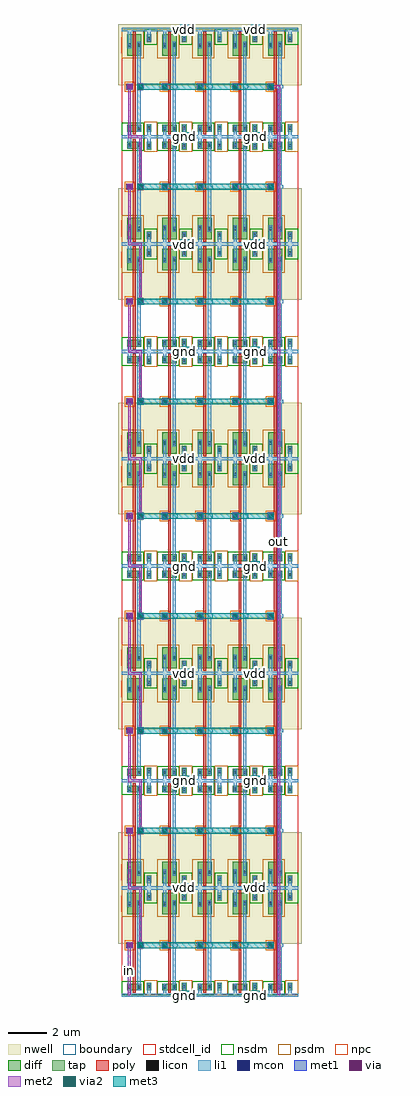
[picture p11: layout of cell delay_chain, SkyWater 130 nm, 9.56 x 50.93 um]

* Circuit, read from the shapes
.subckt delay_chain gnd in out vdd
XM1 pinv_10_1/A in gnd gnd sky130_fd_pr__nfet_01v8 w=0.36 l=0.15
XM2 pinv_10_10/A pinv_10_1/A gnd gnd sky130_fd_pr__nfet_01v8 w=0.36 l=0.15
XM3 pinv_10_11/A pinv_10_10/A gnd gnd sky130_fd_pr__nfet_01v8 w=0.36 l=0.15
XM4 pinv_10_16/A pinv_10_11/A gnd gnd sky130_fd_pr__nfet_01v8 w=0.36 l=0.15
XM5 pinv_10_21/A pinv_10_16/A gnd gnd sky130_fd_pr__nfet_01v8 w=0.36 l=0.15
XM6 pinv_10_26/A pinv_10_21/A gnd gnd sky130_fd_pr__nfet_01v8 w=0.36 l=0.15
XM7 pinv_10_31/A pinv_10_26/A gnd gnd sky130_fd_pr__nfet_01v8 w=0.36 l=0.15
XM8 pinv_10_36/A pinv_10_31/A gnd gnd sky130_fd_pr__nfet_01v8 w=0.36 l=0.15
XM9 out pinv_10_36/A gnd gnd sky130_fd_pr__nfet_01v8 w=0.36 l=0.15
XM10 pinv_10_1/Z pinv_10_1/A gnd gnd sky130_fd_pr__nfet_01v8 w=0.36 l=0.15
XM11 pinv_10_6/Z pinv_10_10/A gnd gnd sky130_fd_pr__nfet_01v8 w=0.36 l=0.15
XM12 pinv_10_11/Z pinv_10_11/A gnd gnd sky130_fd_pr__nfet_01v8 w=0.36 l=0.15
XM13 pinv_10_16/Z pinv_10_16/A gnd gnd sky130_fd_pr__nfet_01v8 w=0.36 l=0.15
XM14 pinv_10_21/Z pinv_10_21/A gnd gnd sky130_fd_pr__nfet_01v8 w=0.36 l=0.15
XM15 pinv_10_26/Z pinv_10_26/A gnd gnd sky130_fd_pr__nfet_01v8 w=0.36 l=0.15
XM16 pinv_10_31/Z pinv_10_31/A gnd gnd sky130_fd_pr__nfet_01v8 w=0.36 l=0.15
XM17 pinv_10_36/Z pinv_10_36/A gnd gnd sky130_fd_pr__nfet_01v8 w=0.36 l=0.15
XM18 pinv_10_41/Z out gnd gnd sky130_fd_pr__nfet_01v8 w=0.36 l=0.15
XM19 pinv_10_2/Z pinv_10_1/A gnd gnd sky130_fd_pr__nfet_01v8 w=0.36 l=0.15
XM20 pinv_10_7/Z pinv_10_10/A gnd gnd sky130_fd_pr__nfet_01v8 w=0.36 l=0.15
XM21 pinv_10_12/Z pinv_10_11/A gnd gnd sky130_fd_pr__nfet_01v8 w=0.36 l=0.15
XM22 pinv_10_17/Z pinv_10_16/A gnd gnd sky130_fd_pr__nfet_01v8 w=0.36 l=0.15
XM23 pinv_10_22/Z pinv_10_21/A gnd gnd sky130_fd_pr__nfet_01v8 w=0.36 l=0.15
XM24 pinv_10_27/Z pinv_10_26/A gnd gnd sky130_fd_pr__nfet_01v8 w=0.36 l=0.15
XM25 pinv_10_32/Z pinv_10_31/A gnd gnd sky130_fd_pr__nfet_01v8 w=0.36 l=0.15
XM26 pinv_10_37/Z pinv_10_36/A gnd gnd sky130_fd_pr__nfet_01v8 w=0.36 l=0.15
XM27 pinv_10_42/Z out gnd gnd sky130_fd_pr__nfet_01v8 w=0.36 l=0.15
XM28 pinv_10_3/Z pinv_10_1/A gnd gnd sky130_fd_pr__nfet_01v8 w=0.36 l=0.15
XM29 pinv_10_8/Z pinv_10_10/A gnd gnd sky130_fd_pr__nfet_01v8 w=0.36 l=0.15
XM30 pinv_10_13/Z pinv_10_11/A gnd gnd sky130_fd_pr__nfet_01v8 w=0.36 l=0.15
XM31 pinv_10_18/Z pinv_10_16/A gnd gnd sky130_fd_pr__nfet_01v8 w=0.36 l=0.15
XM32 pinv_10_23/Z pinv_10_21/A gnd gnd sky130_fd_pr__nfet_01v8 w=0.36 l=0.15
XM33 pinv_10_28/Z pinv_10_26/A gnd gnd sky130_fd_pr__nfet_01v8 w=0.36 l=0.15
XM34 pinv_10_33/Z pinv_10_31/A gnd gnd sky130_fd_pr__nfet_01v8 w=0.36 l=0.15
XM35 pinv_10_38/Z pinv_10_36/A gnd gnd sky130_fd_pr__nfet_01v8 w=0.36 l=0.15
XM36 pinv_10_43/Z out gnd gnd sky130_fd_pr__nfet_01v8 w=0.36 l=0.15
XM37 pinv_10_4/Z pinv_10_1/A gnd gnd sky130_fd_pr__nfet_01v8 w=0.36 l=0.15
XM38 pinv_10_9/Z pinv_10_10/A gnd gnd sky130_fd_pr__nfet_01v8 w=0.36 l=0.15
XM39 pinv_10_14/Z pinv_10_11/A gnd gnd sky130_fd_pr__nfet_01v8 w=0.36 l=0.15
XM40 pinv_10_19/Z pinv_10_16/A gnd gnd sky130_fd_pr__nfet_01v8 w=0.36 l=0.15
XM41 pinv_10_24/Z pinv_10_21/A gnd gnd sky130_fd_pr__nfet_01v8 w=0.36 l=0.15
XM42 pinv_10_29/Z pinv_10_26/A gnd gnd sky130_fd_pr__nfet_01v8 w=0.36 l=0.15
XM43 pinv_10_34/Z pinv_10_31/A gnd gnd sky130_fd_pr__nfet_01v8 w=0.36 l=0.15
XM44 pinv_10_39/Z pinv_10_36/A gnd gnd sky130_fd_pr__nfet_01v8 w=0.36 l=0.15
XM45 pinv_10_44/Z out gnd gnd sky130_fd_pr__nfet_01v8 w=0.36 l=0.15
XM46 pinv_10_1/A in vdd vdd sky130_fd_pr__pfet_01v8 w=1.12 l=0.15
XM47 pinv_10_10/A pinv_10_1/A vdd vdd sky130_fd_pr__pfet_01v8 w=1.12 l=0.15
XM48 pinv_10_11/A pinv_10_10/A vdd vdd sky130_fd_pr__pfet_01v8 w=1.12 l=0.15
XM49 pinv_10_16/A pinv_10_11/A vdd vdd sky130_fd_pr__pfet_01v8 w=1.12 l=0.15
XM50 pinv_10_21/A pinv_10_16/A vdd vdd sky130_fd_pr__pfet_01v8 w=1.12 l=0.15
XM51 pinv_10_26/A pinv_10_21/A vdd vdd sky130_fd_pr__pfet_01v8 w=1.12 l=0.15
XM52 pinv_10_31/A pinv_10_26/A vdd vdd sky130_fd_pr__pfet_01v8 w=1.12 l=0.15
XM53 pinv_10_36/A pinv_10_31/A vdd vdd sky130_fd_pr__pfet_01v8 w=1.12 l=0.15
XM54 out pinv_10_36/A vdd vdd sky130_fd_pr__pfet_01v8 w=1.12 l=0.15
XM55 pinv_10_1/Z pinv_10_1/A vdd vdd sky130_fd_pr__pfet_01v8 w=1.12 l=0.15
XM56 pinv_10_6/Z pinv_10_10/A vdd vdd sky130_fd_pr__pfet_01v8 w=1.12 l=0.15
XM57 pinv_10_11/Z pinv_10_11/A vdd vdd sky130_fd_pr__pfet_01v8 w=1.12 l=0.15
XM58 pinv_10_16/Z pinv_10_16/A vdd vdd sky130_fd_pr__pfet_01v8 w=1.12 l=0.15
XM59 pinv_10_21/Z pinv_10_21/A vdd vdd sky130_fd_pr__pfet_01v8 w=1.12 l=0.15
XM60 pinv_10_26/Z pinv_10_26/A vdd vdd sky130_fd_pr__pfet_01v8 w=1.12 l=0.15
XM61 pinv_10_31/Z pinv_10_31/A vdd vdd sky130_fd_pr__pfet_01v8 w=1.12 l=0.15
XM62 pinv_10_36/Z pinv_10_36/A vdd vdd sky130_fd_pr__pfet_01v8 w=1.12 l=0.15
XM63 pinv_10_41/Z out vdd vdd sky130_fd_pr__pfet_01v8 w=1.12 l=0.15
XM64 pinv_10_2/Z pinv_10_1/A vdd vdd sky130_fd_pr__pfet_01v8 w=1.12 l=0.15
XM65 pinv_10_7/Z pinv_10_10/A vdd vdd sky130_fd_pr__pfet_01v8 w=1.12 l=0.15
XM66 pinv_10_12/Z pinv_10_11/A vdd vdd sky130_fd_pr__pfet_01v8 w=1.12 l=0.15
XM67 pinv_10_17/Z pinv_10_16/A vdd vdd sky130_fd_pr__pfet_01v8 w=1.12 l=0.15
XM68 pinv_10_22/Z pinv_10_21/A vdd vdd sky130_fd_pr__pfet_01v8 w=1.12 l=0.15
XM69 pinv_10_27/Z pinv_10_26/A vdd vdd sky130_fd_pr__pfet_01v8 w=1.12 l=0.15
XM70 pinv_10_32/Z pinv_10_31/A vdd vdd sky130_fd_pr__pfet_01v8 w=1.12 l=0.15
XM71 pinv_10_37/Z pinv_10_36/A vdd vdd sky130_fd_pr__pfet_01v8 w=1.12 l=0.15
XM72 pinv_10_42/Z out vdd vdd sky130_fd_pr__pfet_01v8 w=1.12 l=0.15
XM73 pinv_10_3/Z pinv_10_1/A vdd vdd sky130_fd_pr__pfet_01v8 w=1.12 l=0.15
XM74 pinv_10_8/Z pinv_10_10/A vdd vdd sky130_fd_pr__pfet_01v8 w=1.12 l=0.15
XM75 pinv_10_13/Z pinv_10_11/A vdd vdd sky130_fd_pr__pfet_01v8 w=1.12 l=0.15
XM76 pinv_10_18/Z pinv_10_16/A vdd vdd sky130_fd_pr__pfet_01v8 w=1.12 l=0.15
XM77 pinv_10_23/Z pinv_10_21/A vdd vdd sky130_fd_pr__pfet_01v8 w=1.12 l=0.15
XM78 pinv_10_28/Z pinv_10_26/A vdd vdd sky130_fd_pr__pfet_01v8 w=1.12 l=0.15
XM79 pinv_10_33/Z pinv_10_31/A vdd vdd sky130_fd_pr__pfet_01v8 w=1.12 l=0.15
XM80 pinv_10_38/Z pinv_10_36/A vdd vdd sky130_fd_pr__pfet_01v8 w=1.12 l=0.15
XM81 pinv_10_43/Z out vdd vdd sky130_fd_pr__pfet_01v8 w=1.12 l=0.15
XM82 pinv_10_4/Z pinv_10_1/A vdd vdd sky130_fd_pr__pfet_01v8 w=1.12 l=0.15
XM83 pinv_10_9/Z pinv_10_10/A vdd vdd sky130_fd_pr__pfet_01v8 w=1.12 l=0.15
XM84 pinv_10_14/Z pinv_10_11/A vdd vdd sky130_fd_pr__pfet_01v8 w=1.12 l=0.15
XM85 pinv_10_19/Z pinv_10_16/A vdd vdd sky130_fd_pr__pfet_01v8 w=1.12 l=0.15
XM86 pinv_10_24/Z pinv_10_21/A vdd vdd sky130_fd_pr__pfet_01v8 w=1.12 l=0.15
XM87 pinv_10_29/Z pinv_10_26/A vdd vdd sky130_fd_pr__pfet_01v8 w=1.12 l=0.15
XM88 pinv_10_34/Z pinv_10_31/A vdd vdd sky130_fd_pr__pfet_01v8 w=1.12 l=0.15
XM89 pinv_10_39/Z pinv_10_36/A vdd vdd sky130_fd_pr__pfet_01v8 w=1.12 l=0.15
XM90 pinv_10_44/Z out vdd vdd sky130_fd_pr__pfet_01v8 w=1.12 l=0.15
.ends

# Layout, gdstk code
import gdstk
lib = gdstk.Library(unit=1e-6, precision=1e-09)
def R(c, l, rs):  # rectangles x0, y0, x1, y1
    for r in rs: c.add(gdstk.rectangle(r[:2], r[2:], *l))
def A(c, l, x, y, w, h, nx, ny, dx, dy):  # array of equal rectangles
    R(c, l, [(x+i*dx, y+j*dy, x+i*dx+w, y+j*dy+h) for i in range(nx) for j in range(ny)])
nwell = (64, 20)
diff = (65, 20)
tap = (65, 44)
poly = (66, 20)
licon = (66, 44)
li1 = (67, 20)
mcon = (67, 44)
met1 = (68, 20)
via = (68, 44)
met2 = (69, 20)
via2 = (69, 44)
met3 = (70, 20)
stdcell_id = (81, 4)
nsdm = (93, 44)
psdm = (94, 20)
npc = (95, 20)
boundary = (235, 4)

contact_11 = lib.new_cell('contact_11')
R(contact_11, nwell, [(-0.295,-0.255,0.545,0.585)])
R(contact_11, diff, [(0,0.02,0.25,0.31)])
R(contact_11, licon, [(0.04,0.08,0.21,0.25)])
R(contact_11, li1, [(0.04,0,0.21,0.33)])
R(contact_11, stdcell_id, [(-0.295,-0.255,0.545,0.585)])
R(contact_11, psdm, [(-0.125,-0.105,0.375,0.435)])
R(contact_11, boundary, [(-0.295,-0.255,0.545,0.585)])

pmos_m1_w1_120_sli_dli_d = lib.new_cell('pmos_m1_w1_120_sli_dli_da_p')
R(pmos_m1_w1_120_sli_dli_d, nwell, [(-0.27,-0.27,1.02,1.39)])
R(pmos_m1_w1_120_sli_dli_d, diff, [(0,0,0.75,1.12)])
R(pmos_m1_w1_120_sli_dli_d, poly, [(0.3,-0.13,0.45,1.25), (0.3,-0.13,0.45,1.25)])
R(pmos_m1_w1_120_sli_dli_d, li1, [(0.04,0.395,0.21,0.725), (0.54,0.395,0.71,0.725)])
R(pmos_m1_w1_120_sli_dli_d, stdcell_id, [(-0.27,-0.27,1.02,1.39)])
R(pmos_m1_w1_120_sli_dli_d, psdm, [(-0.125,-0.125,0.875,1.245)])
R(pmos_m1_w1_120_sli_dli_d, boundary, [(-0.27,-0.27,1.02,1.39)])
pmos_m1_w1_120_sli_dli_d.add(gdstk.Reference(contact_11, (0,0.395)))
pmos_m1_w1_120_sli_dli_d.add(gdstk.Reference(contact_11, (0.5,0.395)))
pmos_m1_w1_120_sli_dli_d.add(gdstk.Label('S', (0.125,0.56), layer=67, texttype=16))
pmos_m1_w1_120_sli_dli_d.add(gdstk.Label('G', (0.375,0.56), layer=66, texttype=16))
pmos_m1_w1_120_sli_dli_d.add(gdstk.Label('D', (0.625,0.56), layer=67, texttype=16))

contact_17 = lib.new_cell('contact_17')
R(contact_17, diff, [(0,0.02,0.25,0.31)])
R(contact_17, licon, [(0.04,0.08,0.21,0.25)])
R(contact_17, li1, [(0.04,0,0.21,0.33)])
R(contact_17, stdcell_id, [(-0.125,-0.105,0.375,0.435)])
R(contact_17, nsdm, [(-0.125,-0.105,0.375,0.435)])
R(contact_17, boundary, [(-0.125,-0.105,0.375,0.435)])

nmos_m1_w0_360_sli_dli_d = lib.new_cell('nmos_m1_w0_360_sli_dli_da_p')
R(nmos_m1_w0_360_sli_dli_d, diff, [(0,0,0.75,0.36)])
R(nmos_m1_w0_360_sli_dli_d, poly, [(0.3,-0.13,0.45,0.49), (0.3,-0.13,0.45,0.49)])
R(nmos_m1_w0_360_sli_dli_d, li1, [(0.04,0.015,0.21,0.345), (0.54,0.015,0.71,0.345)])
R(nmos_m1_w0_360_sli_dli_d, stdcell_id, [(-0.125,-0.13,0.875,0.49)])
R(nmos_m1_w0_360_sli_dli_d, nsdm, [(-0.125,-0.125,0.875,0.485)])
R(nmos_m1_w0_360_sli_dli_d, boundary, [(-0.125,-0.13,0.875,0.49)])
nmos_m1_w0_360_sli_dli_d.add(gdstk.Reference(contact_17, (0,0.015)))
nmos_m1_w0_360_sli_dli_d.add(gdstk.Reference(contact_17, (0.5,0.015)))
nmos_m1_w0_360_sli_dli_d.add(gdstk.Label('S', (0.125,0.18), layer=67, texttype=16))
nmos_m1_w0_360_sli_dli_d.add(gdstk.Label('G', (0.375,0.18), layer=66, texttype=16))
nmos_m1_w0_360_sli_dli_d.add(gdstk.Label('D', (0.625,0.18), layer=67, texttype=16))

contact_24 = lib.new_cell('contact_24')
R(contact_24, nwell, [(-0.295,-0.215,0.545,0.625)])
R(contact_24, tap, [(0,0,0.25,0.41)])
R(contact_24, licon, [(0.04,0.12,0.21,0.29)])
R(contact_24, li1, [(0.04,0.04,0.21,0.37)])
R(contact_24, stdcell_id, [(-0.295,-0.215,0.545,0.625)])
R(contact_24, nsdm, [(-0.125,-0.125,0.375,0.535)])
R(contact_24, boundary, [(-0.295,-0.215,0.545,0.625)])

contact_25 = lib.new_cell('contact_25')
R(contact_25, tap, [(0,0,0.25,0.41)])
R(contact_25, licon, [(0.04,0.12,0.21,0.29)])
R(contact_25, li1, [(0.04,0.04,0.21,0.37)])
R(contact_25, stdcell_id, [(-0.125,-0.125,0.375,0.535)])
R(contact_25, psdm, [(-0.125,-0.125,0.375,0.535)])
R(contact_25, boundary, [(-0.125,-0.125,0.375,0.535)])

contact_12 = lib.new_cell('contact_12')
R(contact_12, poly, [(0,0,0.33,0.33)])
R(contact_12, licon, [(0.08,0.08,0.25,0.25)])
R(contact_12, li1, [(0.08,0,0.25,0.33)])
R(contact_12, stdcell_id, [(-0.1,-0.1,0.43,0.43)])
R(contact_12, npc, [(-0.1,-0.1,0.43,0.43)])
R(contact_12, boundary, [(-0.1,-0.1,0.43,0.43)])

pinv_10 = lib.new_cell('pinv_10')
R(pinv_10, nwell, [(-0.18,2.69,2.02,5.885)])
R(pinv_10, poly, [(0.57,0.745,0.72,4.095), (0.405,2.445,0.57,2.775)])
R(pinv_10, li1, [(0,-0.085,1.84,0.085), (0.31,-0.085,0.48,0.27), (1.33,0,1.5,0.46), (0.81,0.27,0.98,4.95), (0.32,2.445,0.49,2.775), (0.895,2.525,1.065,2.695), (0.31,4.62,0.48,5.685), (1.33,5.14,1.5,5.6), (0,5.515,1.84,5.685)])
R(pinv_10, stdcell_id, [(0,0,1.84,5.6), (0,0,1.84,5.6)])
R(pinv_10, nsdm, [(0,0,1.145,0.74), (1.165,4.81,1.84,5.6)])
R(pinv_10, psdm, [(1.165,0,1.84,0.79), (0,4.1,1.145,5.6)])
R(pinv_10, boundary, [(0,0,1.84,5.6), (0,0,1.84,5.6)])
pinv_10.add(gdstk.Reference(pmos_m1_w1_120_sli_dli_d, (0.27,4.225)))
pinv_10.add(gdstk.Reference(nmos_m1_w0_360_sli_dli_d, (0.27,0.255)))
pinv_10.add(gdstk.Reference(contact_24, (1.29,4.935)))
pinv_10.add(gdstk.Reference(contact_25, (1.29,0.255)))
pinv_10.add(gdstk.Reference(contact_12, (0.24,2.445)))
pinv_10.add(gdstk.Label('gnd', (0.92,0), layer=67, texttype=16))
pinv_10.add(gdstk.Label('Z', (0.98,2.61), layer=67, texttype=16))
pinv_10.add(gdstk.Label('vdd', (0.92,5.6), layer=67, texttype=16))
pinv_10.add(gdstk.Label('A', (0.405,2.61), layer=67, texttype=16))

contact_7 = lib.new_cell('contact_7')
R(contact_7, li1, [(0.06,0,0.23,0.33)])
R(contact_7, mcon, [(0.06,0.08,0.23,0.25)])
R(contact_7, met1, [(0,0.05,0.29,0.28)])
R(contact_7, stdcell_id, [(0,0,0.29,0.33)])
R(contact_7, boundary, [(0,0,0.29,0.33)])

contact_8 = lib.new_cell('contact_8')
R(contact_8, met1, [(0,0.03,0.32,0.29)])
R(contact_8, via, [(0.085,0.085,0.235,0.235)])
R(contact_8, met2, [(0.03,0,0.29,0.32)])
R(contact_8, stdcell_id, [(0,0,0.32,0.32)])
R(contact_8, boundary, [(0,0,0.32,0.32)])

contact_9 = lib.new_cell('contact_9')
R(contact_9, met2, [(0.025,0,0.305,0.37)])
R(contact_9, via2, [(0.065,0.085,0.265,0.285)])
R(contact_9, met3, [(0,0.02,0.33,0.35)])
R(contact_9, stdcell_id, [(0,0,0.33,0.37)])
R(contact_9, boundary, [(0,0,0.33,0.37)])

delay_chain = lib.new_cell('delay_chain')
A(delay_chain, met1, 2.085, 2.48, 0.32, 0.26, 4, 2, 1.84, 5.98)
A(delay_chain, met1, 2.085, 13.68, 0.32, 0.26, 4, 2, 1.84, 5.98)
A(delay_chain, met1, 2.085, 24.88, 0.32, 0.26, 4, 2, 1.84, 5.98)
A(delay_chain, met1, 2.085, 36.08, 0.32, 0.26, 4, 2, 1.84, 5.98)
A(delay_chain, met1, 2.085, 47.28, 0.32, 0.26, 4, 1, 1.84, 0)
R(delay_chain, met1, [(3.12,-0.13,3.44,0.13), (6.8,-0.13,7.12,0.13), (0.245,2.48,0.565,2.74), (0.245,2.48,0.565,2.74), (0.82,2.48,1.14,2.74), (3.12,5.47,3.44,5.73), (3.12,5.47,3.44,5.73), (6.8,5.47,7.12,5.73), (6.8,5.47,7.12,5.73), (0.245,8.46,0.565,8.72), (0.82,8.46,1.14,8.72), (3.12,11.07,3.44,11.33), (3.12,11.07,3.44,11.33), (6.8,11.07,7.12,11.33), (6.8,11.07,7.12,11.33), (0.245,13.68,0.565,13.94), (0.82,13.68,1.14,13.94), (3.12,16.67,3.44,16.93), (3.12,16.67,3.44,16.93), (6.8,16.67,7.12,16.93), (6.8,16.67,7.12,16.93), (0.245,19.66,0.565,19.92), (0.82,19.66,1.14,19.92), (3.12,22.27,3.44,22.53), (3.12,22.27,3.44,22.53), (6.8,22.27,7.12,22.53), (6.8,22.27,7.12,22.53), (0.245,24.88,0.565,25.14), (0.82,24.88,1.14,25.14), (3.12,27.87,3.44,28.13), (3.12,27.87,3.44,28.13), (6.8,27.87,7.12,28.13), (6.8,27.87,7.12,28.13), (0.245,30.86,0.565,31.12), (0.82,30.86,1.14,31.12), (3.12,33.47,3.44,33.73), (3.12,33.47,3.44,33.73), (6.8,33.47,7.12,33.73), (6.8,33.47,7.12,33.73), (0.245,36.08,0.565,36.34), (0.82,36.08,1.14,36.34), (3.12,39.07,3.44,39.33), (3.12,39.07,3.44,39.33), (6.8,39.07,7.12,39.33), (6.8,39.07,7.12,39.33), (0.245,42.06,0.565,42.32), (0.82,42.06,1.14,42.32), (3.12,44.67,3.44,44.93), (3.12,44.67,3.44,44.93), (6.8,44.67,7.12,44.93), (6.8,44.67,7.12,44.93), (0.245,47.28,0.565,47.54), (0.82,47.28,1.14,47.54), (7.605,47.28,7.925,47.54), (3.12,50.27,3.44,50.53), (6.8,50.27,7.12,50.53)])
A(delay_chain, met2, 2.105, 2.49, 0.28, 0.24, 4, 2, 1.84, 5.98)
A(delay_chain, met2, 0.91, 2.61, 0.14, 2.99, 1, 4, 0, 11.2)
A(delay_chain, met2, 0.335, 5.53, 0.14, 0.14, 1, 8, 0, 5.6)
A(delay_chain, met2, 0.405, 5.53, 0.575, 0.14, 1, 8, 0, 5.6)
A(delay_chain, met2, 0.91, 5.53, 0.14, 0.14, 1, 8, 0, 5.6)
A(delay_chain, met2, 0.335, 5.6, 0.14, 2.99, 1, 4, 0, 11.2)
A(delay_chain, met2, 0.91, 8.59, 0.14, 2.61, 1, 4, 0, 11.2)
A(delay_chain, met2, 0.335, 11.2, 0.14, 2.61, 1, 4, 0, 11.2)
A(delay_chain, met2, 2.105, 13.69, 0.28, 0.24, 4, 2, 1.84, 5.98)
A(delay_chain, met2, 2.105, 24.89, 0.28, 0.24, 4, 2, 1.84, 5.98)
A(delay_chain, met2, 2.105, 36.09, 0.28, 0.24, 4, 2, 1.84, 5.98)
A(delay_chain, met2, 2.105, 47.29, 0.28, 0.24, 4, 1, 1.84, 0)
R(delay_chain, met2, [(3.14,-0.12,3.42,0.12), (6.82,-0.12,7.1,0.12), (0.32,0,0.46,2.61), (8.115,0,8.255,47.41), (8.115,0,8.255,47.41), (0.84,2.49,1.12,2.73), (3.14,5.48,3.42,5.72), (3.14,5.48,3.42,5.72), (6.82,5.48,7.1,5.72), (6.82,5.48,7.1,5.72), (0.84,8.47,1.12,8.71), (3.14,11.08,3.42,11.32), (3.14,11.08,3.42,11.32), (6.82,11.08,7.1,11.32), (6.82,11.08,7.1,11.32), (0.84,13.69,1.12,13.93), (3.14,16.68,3.42,16.92), (3.14,16.68,3.42,16.92), (6.82,16.68,7.1,16.92), (6.82,16.68,7.1,16.92), (0.84,19.67,1.12,19.91), (3.14,22.28,3.42,22.52), (3.14,22.28,3.42,22.52), (6.82,22.28,7.1,22.52), (6.82,22.28,7.1,22.52), (0.84,24.89,1.12,25.13), (3.14,27.88,3.42,28.12), (3.14,27.88,3.42,28.12), (6.82,27.88,7.1,28.12), (6.82,27.88,7.1,28.12), (0.84,30.87,1.12,31.11), (3.14,33.48,3.42,33.72), (3.14,33.48,3.42,33.72), (6.82,33.48,7.1,33.72), (6.82,33.48,7.1,33.72), (0.84,36.09,1.12,36.33), (3.14,39.08,3.42,39.32), (3.14,39.08,3.42,39.32), (6.82,39.08,7.1,39.32), (6.82,39.08,7.1,39.32), (0.84,42.07,1.12,42.31), (3.14,44.68,3.42,44.92), (3.14,44.68,3.42,44.92), (6.82,44.68,7.1,44.92), (6.82,44.68,7.1,44.92), (0.84,47.29,1.12,47.53), (7.765,47.34,8.185,47.48), (8.115,47.34,8.255,47.48), (3.14,50.28,3.42,50.52), (6.82,50.28,7.1,50.52)])
A(delay_chain, met3, 3.035, 5.355, 0.49, 0.49, 1, 3, 0, 5.6)
A(delay_chain, met3, 6.715, 5.355, 0.49, 0.49, 1, 3, 0, 5.6)
A(delay_chain, met3, 3.035, 16.555, 0.49, 0.49, 1, 7, 0, 5.6)
A(delay_chain, met3, 6.715, 16.555, 0.49, 0.49, 1, 7, 0, 5.6)
R(delay_chain, met3, [(3.035,-0.245,3.525,0.245), (6.715,-0.245,7.205,0.245), (0.98,2.46,7.765,2.76), (3.035,5.355,3.525,5.845), (6.715,5.355,7.205,5.845), (0.98,8.44,7.765,8.74), (0.98,13.66,7.765,13.96), (0.98,19.64,7.765,19.94), (0.98,24.86,7.765,25.16), (0.98,30.84,7.765,31.14), (0.98,36.06,7.765,36.36), (0.98,42.04,7.765,42.34), (0.98,47.26,7.765,47.56)])
R(delay_chain, stdcell_id, [(0,0,9.2,50.4)])
R(delay_chain, boundary, [(0,0,9.2,50.4)])
delay_chain.add(gdstk.Reference(pinv_10, (0,0)))
delay_chain.add(gdstk.Reference(pinv_10, (1.84,0)))
delay_chain.add(gdstk.Reference(pinv_10, (3.68,0)))
delay_chain.add(gdstk.Reference(pinv_10, (5.52,0)))
delay_chain.add(gdstk.Reference(pinv_10, (7.36,0)))
delay_chain.add(gdstk.Reference(pinv_10, (0,11.2), x_reflection=True))
delay_chain.add(gdstk.Reference(pinv_10, (1.84,11.2), x_reflection=True))
delay_chain.add(gdstk.Reference(pinv_10, (3.68,11.2), x_reflection=True))
delay_chain.add(gdstk.Reference(pinv_10, (5.52,11.2), x_reflection=True))
delay_chain.add(gdstk.Reference(pinv_10, (7.36,11.2), x_reflection=True))
delay_chain.add(gdstk.Reference(pinv_10, (0,11.2)))
delay_chain.add(gdstk.Reference(pinv_10, (1.84,11.2)))
delay_chain.add(gdstk.Reference(pinv_10, (3.68,11.2)))
delay_chain.add(gdstk.Reference(pinv_10, (5.52,11.2)))
delay_chain.add(gdstk.Reference(pinv_10, (7.36,11.2)))
delay_chain.add(gdstk.Reference(pinv_10, (0,22.4), x_reflection=True))
delay_chain.add(gdstk.Reference(pinv_10, (1.84,22.4), x_reflection=True))
delay_chain.add(gdstk.Reference(pinv_10, (3.68,22.4), x_reflection=True))
delay_chain.add(gdstk.Reference(pinv_10, (5.52,22.4), x_reflection=True))
delay_chain.add(gdstk.Reference(pinv_10, (7.36,22.4), x_reflection=True))
delay_chain.add(gdstk.Reference(pinv_10, (0,22.4)))
delay_chain.add(gdstk.Reference(pinv_10, (1.84,22.4)))
delay_chain.add(gdstk.Reference(pinv_10, (3.68,22.4)))
delay_chain.add(gdstk.Reference(pinv_10, (5.52,22.4)))
delay_chain.add(gdstk.Reference(pinv_10, (7.36,22.4)))
delay_chain.add(gdstk.Reference(pinv_10, (0,33.6), x_reflection=True))
delay_chain.add(gdstk.Reference(pinv_10, (1.84,33.6), x_reflection=True))
delay_chain.add(gdstk.Reference(pinv_10, (3.68,33.6), x_reflection=True))
delay_chain.add(gdstk.Reference(pinv_10, (5.52,33.6), x_reflection=True))
delay_chain.add(gdstk.Reference(pinv_10, (7.36,33.6), x_reflection=True))
delay_chain.add(gdstk.Reference(pinv_10, (0,33.6)))
delay_chain.add(gdstk.Reference(pinv_10, (1.84,33.6)))
delay_chain.add(gdstk.Reference(pinv_10, (3.68,33.6)))
delay_chain.add(gdstk.Reference(pinv_10, (5.52,33.6)))
delay_chain.add(gdstk.Reference(pinv_10, (7.36,33.6)))
delay_chain.add(gdstk.Reference(pinv_10, (0,44.8), x_reflection=True))
delay_chain.add(gdstk.Reference(pinv_10, (1.84,44.8), x_reflection=True))
delay_chain.add(gdstk.Reference(pinv_10, (3.68,44.8), x_reflection=True))
delay_chain.add(gdstk.Reference(pinv_10, (5.52,44.8), x_reflection=True))
delay_chain.add(gdstk.Reference(pinv_10, (7.36,44.8), x_reflection=True))
delay_chain.add(gdstk.Reference(pinv_10, (0,44.8)))
delay_chain.add(gdstk.Reference(pinv_10, (1.84,44.8)))
delay_chain.add(gdstk.Reference(pinv_10, (3.68,44.8)))
delay_chain.add(gdstk.Reference(pinv_10, (5.52,44.8)))
delay_chain.add(gdstk.Reference(pinv_10, (7.36,44.8)))
delay_chain.add(gdstk.Reference(contact_7, (2.1,2.445)))
delay_chain.add(gdstk.Reference(contact_8, (2.085,2.45)))
delay_chain.add(gdstk.Reference(contact_9, (2.08,2.425)))
delay_chain.add(gdstk.Reference(contact_7, (3.94,2.445)))
delay_chain.add(gdstk.Reference(contact_8, (3.925,2.45)))
delay_chain.add(gdstk.Reference(contact_9, (3.92,2.425)))
delay_chain.add(gdstk.Reference(contact_7, (5.78,2.445)))
delay_chain.add(gdstk.Reference(contact_8, (5.765,2.45)))
delay_chain.add(gdstk.Reference(contact_9, (5.76,2.425)))
delay_chain.add(gdstk.Reference(contact_7, (7.62,2.445)))
delay_chain.add(gdstk.Reference(contact_8, (7.605,2.45)))
delay_chain.add(gdstk.Reference(contact_9, (7.6,2.425)))
delay_chain.add(gdstk.Reference(contact_7, (0.26,2.445)))
delay_chain.add(gdstk.Reference(contact_8, (0.245,2.45)))
delay_chain.add(gdstk.Reference(contact_7, (0.835,2.445)))
delay_chain.add(gdstk.Reference(contact_8, (0.82,2.45)))
delay_chain.add(gdstk.Reference(contact_9, (0.815,2.425)))
delay_chain.add(gdstk.Reference(contact_7, (2.1,8.425)))
delay_chain.add(gdstk.Reference(contact_8, (2.085,8.43)))
delay_chain.add(gdstk.Reference(contact_9, (2.08,8.405)))
delay_chain.add(gdstk.Reference(contact_7, (3.94,8.425)))
delay_chain.add(gdstk.Reference(contact_8, (3.925,8.43)))
delay_chain.add(gdstk.Reference(contact_9, (3.92,8.405)))
delay_chain.add(gdstk.Reference(contact_7, (5.78,8.425)))
delay_chain.add(gdstk.Reference(contact_8, (5.765,8.43)))
delay_chain.add(gdstk.Reference(contact_9, (5.76,8.405)))
delay_chain.add(gdstk.Reference(contact_7, (7.62,8.425)))
delay_chain.add(gdstk.Reference(contact_8, (7.605,8.43)))
delay_chain.add(gdstk.Reference(contact_9, (7.6,8.405)))
delay_chain.add(gdstk.Reference(contact_7, (0.26,8.425)))
delay_chain.add(gdstk.Reference(contact_8, (0.245,8.43)))
delay_chain.add(gdstk.Reference(contact_7, (0.835,8.425)))
delay_chain.add(gdstk.Reference(contact_8, (0.82,8.43)))
delay_chain.add(gdstk.Reference(contact_9, (0.815,8.405)))
delay_chain.add(gdstk.Reference(contact_7, (2.1,13.645)))
delay_chain.add(gdstk.Reference(contact_8, (2.085,13.65)))
delay_chain.add(gdstk.Reference(contact_9, (2.08,13.625)))
delay_chain.add(gdstk.Reference(contact_7, (3.94,13.645)))
delay_chain.add(gdstk.Reference(contact_8, (3.925,13.65)))
delay_chain.add(gdstk.Reference(contact_9, (3.92,13.625)))
delay_chain.add(gdstk.Reference(contact_7, (5.78,13.645)))
delay_chain.add(gdstk.Reference(contact_8, (5.765,13.65)))
delay_chain.add(gdstk.Reference(contact_9, (5.76,13.625)))
delay_chain.add(gdstk.Reference(contact_7, (7.62,13.645)))
delay_chain.add(gdstk.Reference(contact_8, (7.605,13.65)))
delay_chain.add(gdstk.Reference(contact_9, (7.6,13.625)))
delay_chain.add(gdstk.Reference(contact_7, (0.26,13.645)))
delay_chain.add(gdstk.Reference(contact_8, (0.245,13.65)))
delay_chain.add(gdstk.Reference(contact_7, (0.835,13.645)))
delay_chain.add(gdstk.Reference(contact_8, (0.82,13.65)))
delay_chain.add(gdstk.Reference(contact_9, (0.815,13.625)))
delay_chain.add(gdstk.Reference(contact_7, (2.1,19.625)))
delay_chain.add(gdstk.Reference(contact_8, (2.085,19.63)))
delay_chain.add(gdstk.Reference(contact_9, (2.08,19.605)))
delay_chain.add(gdstk.Reference(contact_7, (3.94,19.625)))
delay_chain.add(gdstk.Reference(contact_8, (3.925,19.63)))
delay_chain.add(gdstk.Reference(contact_9, (3.92,19.605)))
delay_chain.add(gdstk.Reference(contact_7, (5.78,19.625)))
delay_chain.add(gdstk.Reference(contact_8, (5.765,19.63)))
delay_chain.add(gdstk.Reference(contact_9, (5.76,19.605)))
delay_chain.add(gdstk.Reference(contact_7, (7.62,19.625)))
delay_chain.add(gdstk.Reference(contact_8, (7.605,19.63)))
delay_chain.add(gdstk.Reference(contact_9, (7.6,19.605)))
delay_chain.add(gdstk.Reference(contact_7, (0.26,19.625)))
delay_chain.add(gdstk.Reference(contact_8, (0.245,19.63)))
delay_chain.add(gdstk.Reference(contact_7, (0.835,19.625)))
delay_chain.add(gdstk.Reference(contact_8, (0.82,19.63)))
delay_chain.add(gdstk.Reference(contact_9, (0.815,19.605)))
delay_chain.add(gdstk.Reference(contact_7, (2.1,24.845)))
delay_chain.add(gdstk.Reference(contact_8, (2.085,24.85)))
delay_chain.add(gdstk.Reference(contact_9, (2.08,24.825)))
delay_chain.add(gdstk.Reference(contact_7, (3.94,24.845)))
delay_chain.add(gdstk.Reference(contact_8, (3.925,24.85)))
delay_chain.add(gdstk.Reference(contact_9, (3.92,24.825)))
delay_chain.add(gdstk.Reference(contact_7, (5.78,24.845)))
delay_chain.add(gdstk.Reference(contact_8, (5.765,24.85)))
delay_chain.add(gdstk.Reference(contact_9, (5.76,24.825)))
delay_chain.add(gdstk.Reference(contact_7, (7.62,24.845)))
delay_chain.add(gdstk.Reference(contact_8, (7.605,24.85)))
delay_chain.add(gdstk.Reference(contact_9, (7.6,24.825)))
delay_chain.add(gdstk.Reference(contact_7, (0.26,24.845)))
delay_chain.add(gdstk.Reference(contact_8, (0.245,24.85)))
delay_chain.add(gdstk.Reference(contact_7, (0.835,24.845)))
delay_chain.add(gdstk.Reference(contact_8, (0.82,24.85)))
delay_chain.add(gdstk.Reference(contact_9, (0.815,24.825)))
delay_chain.add(gdstk.Reference(contact_7, (2.1,30.825)))
delay_chain.add(gdstk.Reference(contact_8, (2.085,30.83)))
delay_chain.add(gdstk.Reference(contact_9, (2.08,30.805)))
delay_chain.add(gdstk.Reference(contact_7, (3.94,30.825)))
delay_chain.add(gdstk.Reference(contact_8, (3.925,30.83)))
delay_chain.add(gdstk.Reference(contact_9, (3.92,30.805)))
delay_chain.add(gdstk.Reference(contact_7, (5.78,30.825)))
delay_chain.add(gdstk.Reference(contact_8, (5.765,30.83)))
delay_chain.add(gdstk.Reference(contact_9, (5.76,30.805)))
delay_chain.add(gdstk.Reference(contact_7, (7.62,30.825)))
delay_chain.add(gdstk.Reference(contact_8, (7.605,30.83)))
delay_chain.add(gdstk.Reference(contact_9, (7.6,30.805)))
delay_chain.add(gdstk.Reference(contact_7, (0.26,30.825)))
delay_chain.add(gdstk.Reference(contact_8, (0.245,30.83)))
delay_chain.add(gdstk.Reference(contact_7, (0.835,30.825)))
delay_chain.add(gdstk.Reference(contact_8, (0.82,30.83)))
delay_chain.add(gdstk.Reference(contact_9, (0.815,30.805)))
delay_chain.add(gdstk.Reference(contact_7, (2.1,36.045)))
delay_chain.add(gdstk.Reference(contact_8, (2.085,36.05)))
delay_chain.add(gdstk.Reference(contact_9, (2.08,36.025)))
delay_chain.add(gdstk.Reference(contact_7, (3.94,36.045)))
delay_chain.add(gdstk.Reference(contact_8, (3.925,36.05)))
delay_chain.add(gdstk.Reference(contact_9, (3.92,36.025)))
delay_chain.add(gdstk.Reference(contact_7, (5.78,36.045)))
delay_chain.add(gdstk.Reference(contact_8, (5.765,36.05)))
delay_chain.add(gdstk.Reference(contact_9, (5.76,36.025)))
delay_chain.add(gdstk.Reference(contact_7, (7.62,36.045)))
delay_chain.add(gdstk.Reference(contact_8, (7.605,36.05)))
delay_chain.add(gdstk.Reference(contact_9, (7.6,36.025)))
delay_chain.add(gdstk.Reference(contact_7, (0.26,36.045)))
delay_chain.add(gdstk.Reference(contact_8, (0.245,36.05)))
delay_chain.add(gdstk.Reference(contact_7, (0.835,36.045)))
delay_chain.add(gdstk.Reference(contact_8, (0.82,36.05)))
delay_chain.add(gdstk.Reference(contact_9, (0.815,36.025)))
delay_chain.add(gdstk.Reference(contact_7, (2.1,42.025)))
delay_chain.add(gdstk.Reference(contact_8, (2.085,42.03)))
delay_chain.add(gdstk.Reference(contact_9, (2.08,42.005)))
delay_chain.add(gdstk.Reference(contact_7, (3.94,42.025)))
delay_chain.add(gdstk.Reference(contact_8, (3.925,42.03)))
delay_chain.add(gdstk.Reference(contact_9, (3.92,42.005)))
delay_chain.add(gdstk.Reference(contact_7, (5.78,42.025)))
delay_chain.add(gdstk.Reference(contact_8, (5.765,42.03)))
delay_chain.add(gdstk.Reference(contact_9, (5.76,42.005)))
delay_chain.add(gdstk.Reference(contact_7, (7.62,42.025)))
delay_chain.add(gdstk.Reference(contact_8, (7.605,42.03)))
delay_chain.add(gdstk.Reference(contact_9, (7.6,42.005)))
delay_chain.add(gdstk.Reference(contact_7, (0.26,42.025)))
delay_chain.add(gdstk.Reference(contact_8, (0.245,42.03)))
delay_chain.add(gdstk.Reference(contact_7, (0.835,42.025)))
delay_chain.add(gdstk.Reference(contact_8, (0.82,42.03)))
delay_chain.add(gdstk.Reference(contact_9, (0.815,42.005)))
delay_chain.add(gdstk.Reference(contact_7, (2.1,47.245)))
delay_chain.add(gdstk.Reference(contact_8, (2.085,47.25)))
delay_chain.add(gdstk.Reference(contact_9, (2.08,47.225)))
delay_chain.add(gdstk.Reference(contact_7, (3.94,47.245)))
delay_chain.add(gdstk.Reference(contact_8, (3.925,47.25)))
delay_chain.add(gdstk.Reference(contact_9, (3.92,47.225)))
delay_chain.add(gdstk.Reference(contact_7, (5.78,47.245)))
delay_chain.add(gdstk.Reference(contact_8, (5.765,47.25)))
delay_chain.add(gdstk.Reference(contact_9, (5.76,47.225)))
delay_chain.add(gdstk.Reference(contact_7, (7.62,47.245)))
delay_chain.add(gdstk.Reference(contact_8, (7.605,47.25)))
delay_chain.add(gdstk.Reference(contact_9, (7.6,47.225)))
delay_chain.add(gdstk.Reference(contact_7, (0.26,47.245)))
delay_chain.add(gdstk.Reference(contact_8, (0.245,47.25)))
delay_chain.add(gdstk.Reference(contact_7, (0.835,47.245)))
delay_chain.add(gdstk.Reference(contact_8, (0.82,47.25)))
delay_chain.add(gdstk.Reference(contact_9, (0.815,47.225)))
delay_chain.add(gdstk.Reference(contact_7, (3.135,5.435)))
delay_chain.add(gdstk.Reference(contact_8, (3.12,5.44)))
delay_chain.add(gdstk.Reference(contact_9, (3.115,5.415)))
delay_chain.add(gdstk.Reference(contact_7, (6.815,5.435)))
delay_chain.add(gdstk.Reference(contact_8, (6.8,5.44)))
delay_chain.add(gdstk.Reference(contact_9, (6.795,5.415)))
delay_chain.add(gdstk.Reference(contact_7, (3.135,-0.165)))
delay_chain.add(gdstk.Reference(contact_8, (3.12,-0.16)))
delay_chain.add(gdstk.Reference(contact_9, (3.115,-0.185)))
delay_chain.add(gdstk.Reference(contact_7, (6.815,-0.165)))
delay_chain.add(gdstk.Reference(contact_8, (6.8,-0.16)))
delay_chain.add(gdstk.Reference(contact_9, (6.795,-0.185)))
delay_chain.add(gdstk.Reference(contact_7, (3.135,5.435)))
delay_chain.add(gdstk.Reference(contact_8, (3.12,5.44)))
delay_chain.add(gdstk.Reference(contact_9, (3.115,5.415)))
delay_chain.add(gdstk.Reference(contact_7, (6.815,5.435)))
delay_chain.add(gdstk.Reference(contact_8, (6.8,5.44)))
delay_chain.add(gdstk.Reference(contact_9, (6.795,5.415)))
delay_chain.add(gdstk.Reference(contact_7, (3.135,11.035)))
delay_chain.add(gdstk.Reference(contact_8, (3.12,11.04)))
delay_chain.add(gdstk.Reference(contact_9, (3.115,11.015)))
delay_chain.add(gdstk.Reference(contact_7, (6.815,11.035)))
delay_chain.add(gdstk.Reference(contact_8, (6.8,11.04)))
delay_chain.add(gdstk.Reference(contact_9, (6.795,11.015)))
delay_chain.add(gdstk.Reference(contact_7, (3.135,16.635)))
delay_chain.add(gdstk.Reference(contact_8, (3.12,16.64)))
delay_chain.add(gdstk.Reference(contact_9, (3.115,16.615)))
delay_chain.add(gdstk.Reference(contact_7, (6.815,16.635)))
delay_chain.add(gdstk.Reference(contact_8, (6.8,16.64)))
delay_chain.add(gdstk.Reference(contact_9, (6.795,16.615)))
delay_chain.add(gdstk.Reference(contact_7, (3.135,11.035)))
delay_chain.add(gdstk.Reference(contact_8, (3.12,11.04)))
delay_chain.add(gdstk.Reference(contact_9, (3.115,11.015)))
delay_chain.add(gdstk.Reference(contact_7, (6.815,11.035)))
delay_chain.add(gdstk.Reference(contact_8, (6.8,11.04)))
delay_chain.add(gdstk.Reference(contact_9, (6.795,11.015)))
delay_chain.add(gdstk.Reference(contact_7, (3.135,16.635)))
delay_chain.add(gdstk.Reference(contact_8, (3.12,16.64)))
delay_chain.add(gdstk.Reference(contact_9, (3.115,16.615)))
delay_chain.add(gdstk.Reference(contact_7, (6.815,16.635)))
delay_chain.add(gdstk.Reference(contact_8, (6.8,16.64)))
delay_chain.add(gdstk.Reference(contact_9, (6.795,16.615)))
delay_chain.add(gdstk.Reference(contact_7, (3.135,22.235)))
delay_chain.add(gdstk.Reference(contact_8, (3.12,22.24)))
delay_chain.add(gdstk.Reference(contact_9, (3.115,22.215)))
delay_chain.add(gdstk.Reference(contact_7, (6.815,22.235)))
delay_chain.add(gdstk.Reference(contact_8, (6.8,22.24)))
delay_chain.add(gdstk.Reference(contact_9, (6.795,22.215)))
delay_chain.add(gdstk.Reference(contact_7, (3.135,27.835)))
delay_chain.add(gdstk.Reference(contact_8, (3.12,27.84)))
delay_chain.add(gdstk.Reference(contact_9, (3.115,27.815)))
delay_chain.add(gdstk.Reference(contact_7, (6.815,27.835)))
delay_chain.add(gdstk.Reference(contact_8, (6.8,27.84)))
delay_chain.add(gdstk.Reference(contact_9, (6.795,27.815)))
delay_chain.add(gdstk.Reference(contact_7, (3.135,22.235)))
delay_chain.add(gdstk.Reference(contact_8, (3.12,22.24)))
delay_chain.add(gdstk.Reference(contact_9, (3.115,22.215)))
delay_chain.add(gdstk.Reference(contact_7, (6.815,22.235)))
delay_chain.add(gdstk.Reference(contact_8, (6.8,22.24)))
delay_chain.add(gdstk.Reference(contact_9, (6.795,22.215)))
delay_chain.add(gdstk.Reference(contact_7, (3.135,27.835)))
delay_chain.add(gdstk.Reference(contact_8, (3.12,27.84)))
delay_chain.add(gdstk.Reference(contact_9, (3.115,27.815)))
delay_chain.add(gdstk.Reference(contact_7, (6.815,27.835)))
delay_chain.add(gdstk.Reference(contact_8, (6.8,27.84)))
delay_chain.add(gdstk.Reference(contact_9, (6.795,27.815)))
delay_chain.add(gdstk.Reference(contact_7, (3.135,33.435)))
delay_chain.add(gdstk.Reference(contact_8, (3.12,33.44)))
delay_chain.add(gdstk.Reference(contact_9, (3.115,33.415)))
delay_chain.add(gdstk.Reference(contact_7, (6.815,33.435)))
delay_chain.add(gdstk.Reference(contact_8, (6.8,33.44)))
delay_chain.add(gdstk.Reference(contact_9, (6.795,33.415)))
delay_chain.add(gdstk.Reference(contact_7, (3.135,39.035)))
delay_chain.add(gdstk.Reference(contact_8, (3.12,39.04)))
delay_chain.add(gdstk.Reference(contact_9, (3.115,39.015)))
delay_chain.add(gdstk.Reference(contact_7, (6.815,39.035)))
delay_chain.add(gdstk.Reference(contact_8, (6.8,39.04)))
delay_chain.add(gdstk.Reference(contact_9, (6.795,39.015)))
delay_chain.add(gdstk.Reference(contact_7, (3.135,33.435)))
delay_chain.add(gdstk.Reference(contact_8, (3.12,33.44)))
delay_chain.add(gdstk.Reference(contact_9, (3.115,33.415)))
delay_chain.add(gdstk.Reference(contact_7, (6.815,33.435)))
delay_chain.add(gdstk.Reference(contact_8, (6.8,33.44)))
delay_chain.add(gdstk.Reference(contact_9, (6.795,33.415)))
delay_chain.add(gdstk.Reference(contact_7, (3.135,39.035)))
delay_chain.add(gdstk.Reference(contact_8, (3.12,39.04)))
delay_chain.add(gdstk.Reference(contact_9, (3.115,39.015)))
delay_chain.add(gdstk.Reference(contact_7, (6.815,39.035)))
delay_chain.add(gdstk.Reference(contact_8, (6.8,39.04)))
delay_chain.add(gdstk.Reference(contact_9, (6.795,39.015)))
delay_chain.add(gdstk.Reference(contact_7, (3.135,44.635)))
delay_chain.add(gdstk.Reference(contact_8, (3.12,44.64)))
delay_chain.add(gdstk.Reference(contact_9, (3.115,44.615)))
delay_chain.add(gdstk.Reference(contact_7, (6.815,44.635)))
delay_chain.add(gdstk.Reference(contact_8, (6.8,44.64)))
delay_chain.add(gdstk.Reference(contact_9, (6.795,44.615)))
delay_chain.add(gdstk.Reference(contact_7, (3.135,50.235)))
delay_chain.add(gdstk.Reference(contact_8, (3.12,50.24)))
delay_chain.add(gdstk.Reference(contact_9, (3.115,50.215)))
delay_chain.add(gdstk.Reference(contact_7, (6.815,50.235)))
delay_chain.add(gdstk.Reference(contact_8, (6.8,50.24)))
delay_chain.add(gdstk.Reference(contact_9, (6.795,50.215)))
delay_chain.add(gdstk.Reference(contact_7, (3.135,44.635)))
delay_chain.add(gdstk.Reference(contact_8, (3.12,44.64)))
delay_chain.add(gdstk.Reference(contact_9, (3.115,44.615)))
delay_chain.add(gdstk.Reference(contact_7, (6.815,44.635)))
delay_chain.add(gdstk.Reference(contact_8, (6.8,44.64)))
delay_chain.add(gdstk.Reference(contact_9, (6.795,44.615)))
delay_chain.add(gdstk.Reference(contact_7, (0.26,2.445)))
delay_chain.add(gdstk.Reference(contact_8, (0.245,2.45)))
delay_chain.add(gdstk.Reference(contact_7, (7.62,47.245)))
delay_chain.add(gdstk.Reference(contact_8, (7.605,47.25)))
delay_chain.add(gdstk.Label('out', (8.185,23.705), layer=69, texttype=16))
delay_chain.add(gdstk.Label('gnd', (3.28,44.8), layer=70, texttype=16))
delay_chain.add(gdstk.Label('gnd', (6.96,33.6), layer=70, texttype=16))
delay_chain.add(gdstk.Label('gnd', (3.28,22.4), layer=70, texttype=16))
delay_chain.add(gdstk.Label('gnd', (3.28,11.2), layer=70, texttype=16))
delay_chain.add(gdstk.Label('gnd', (6.96,0), layer=70, texttype=16))
delay_chain.add(gdstk.Label('gnd', (6.96,11.2), layer=70, texttype=16))
delay_chain.add(gdstk.Label('gnd', (3.28,0), layer=70, texttype=16))
delay_chain.add(gdstk.Label('gnd', (6.96,44.8), layer=70, texttype=16))
delay_chain.add(gdstk.Label('gnd', (6.96,22.4), layer=70, texttype=16))
delay_chain.add(gdstk.Label('gnd', (3.28,33.6), layer=70, texttype=16))
delay_chain.add(gdstk.Label('in', (0.39,1.305), layer=69, texttype=16))
delay_chain.add(gdstk.Label('vdd', (6.96,5.6), layer=70, texttype=16))
delay_chain.add(gdstk.Label('vdd', (6.96,5.6), layer=70, texttype=16))
delay_chain.add(gdstk.Label('vdd', (3.28,5.6), layer=70, texttype=16))
delay_chain.add(gdstk.Label('vdd', (6.96,16.8), layer=70, texttype=16))
delay_chain.add(gdstk.Label('vdd', (3.28,28), layer=70, texttype=16))
delay_chain.add(gdstk.Label('vdd', (3.28,16.8), layer=70, texttype=16))
delay_chain.add(gdstk.Label('vdd', (3.28,16.8), layer=70, texttype=16))
delay_chain.add(gdstk.Label('vdd', (6.96,39.2), layer=70, texttype=16))
delay_chain.add(gdstk.Label('vdd', (6.96,50.4), layer=70, texttype=16))
delay_chain.add(gdstk.Label('vdd', (3.28,39.2), layer=70, texttype=16))
delay_chain.add(gdstk.Label('vdd', (6.96,28), layer=70, texttype=16))
delay_chain.add(gdstk.Label('vdd', (3.28,50.4), layer=70, texttype=16))
delay_chain.add(gdstk.Label('vdd', (3.28,5.6), layer=70, texttype=16))
delay_chain.add(gdstk.Label('vdd', (6.96,16.8), layer=70, texttype=16))

lib.write_gds('delay_chain.gds')
